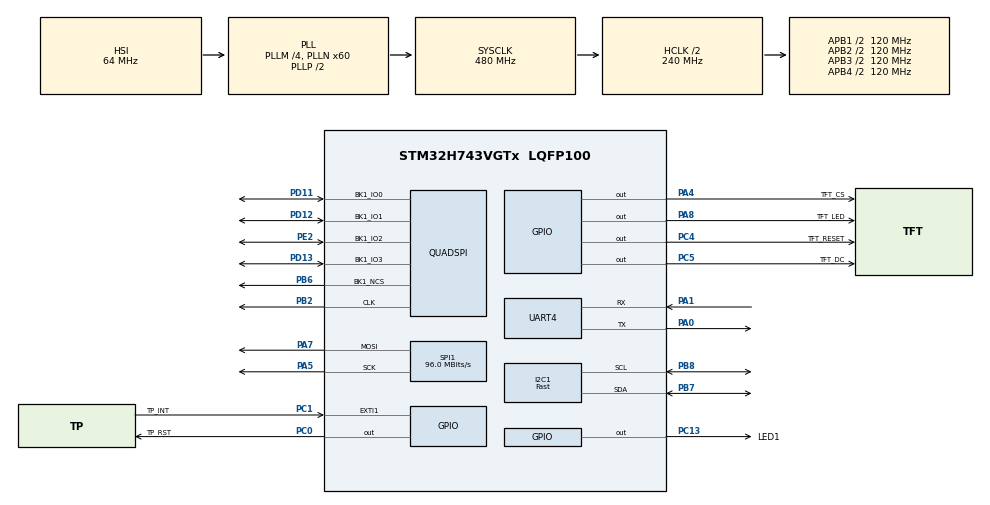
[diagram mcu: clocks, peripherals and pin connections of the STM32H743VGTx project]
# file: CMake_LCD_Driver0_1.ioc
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CORTEX_M7.default_mode_Activation=0
Dma.Request0=SPI1_TX
Dma.SPI1_TX.0.Direction=DMA_MEMORY_TO_PERIPH
Dma.SPI1_TX.0.EventEnable=DISABLE
Dma.SPI1_TX.0.FIFOMode=DMA_FIFOMODE_DISABLE
Dma.SPI1_TX.0.Instance=DMA1_Stream0
Dma.SPI1_TX.0.MemDataAlignment=DMA_MDATAALIGN_BYTE
Dma.SPI1_TX.0.MemInc=DMA_MINC_ENABLE
Dma.SPI1_TX.0.Mode=DMA_NORMAL
Dma.SPI1_TX.0.PeriphDataAlignment=DMA_PDATAALIGN_BYTE
Dma.SPI1_TX.0.PeriphInc=DMA_PINC_DISABLE
Dma.SPI1_TX.0.Polarity=HAL_DMAMUX_REQ_GEN_RISING
Dma.SPI1_TX.0.Priority=DMA_PRIORITY_MEDIUM
Dma.SPI1_TX.0.RequestNumber=1
Dma.SPI1_TX.0.SignalID=NONE
Dma.SPI1_TX.0.SyncEnable=DISABLE
Dma.SPI1_TX.0.SyncPolarity=HAL_DMAMUX_SYNC_NO_EVENT
Dma.SPI1_TX.0.SyncRequestNumber=1
Dma.SPI1_TX.0.SyncSignalID=NONE
I2C1.I2C_Speed_Mode=I2C_Fast
I2C1.Timing=0x00B03FDB
Mcu.Family=STM32H7
Mcu.Name=STM32H743VGTx
Mcu.Package=LQFP100
NVIC.DMA1_Stream0_IRQn=true\:0\:0\:false\:false\:true\:false\:true\:true
NVIC.PriorityGroup=NVIC_PRIORITYGROUP_4
NVIC.QUADSPI_IRQn=true\:0\:0\:false\:false\:true\:true\:true\:true
NVIC.SPI1_IRQn=true\:0\:0\:false\:false\:true\:false\:true\:true
NVIC.UART4_IRQn=true\:0\:0\:false\:false\:true\:true\:true\:true
PA0.Mode=Asynchronous
PA0.Signal=UART4_TX
PA1.Mode=Asynchronous
PA1.Signal=UART4_RX
PA13\ (JTMS/SWDIO).Mode=Serial_Wire
PA13\ (JTMS/SWDIO).Signal=DEBUG_JTMS-SWDIO
PA14\ (JTCK/SWCLK).Mode=Serial_Wire
PA14\ (JTCK/SWCLK).Signal=DEBUG_JTCK-SWCLK
PA4.GPIO_Label=TFT_CS
PA4.GPIO_Speed=GPIO_SPEED_FREQ_VERY_HIGH
PA4.PinState=GPIO_PIN_RESET
PA4.Signal=GPIO_Output
PA5.GPIO_Speed=GPIO_SPEED_FREQ_VERY_HIGH
PA5.Mode=TX_Only_Simplex_Unidirect_Master
PA5.Signal=SPI1_SCK
PA7.GPIO_Speed=GPIO_SPEED_FREQ_VERY_HIGH
PA7.Mode=TX_Only_Simplex_Unidirect_Master
PA7.Signal=SPI1_MOSI
PA8.GPIO_Label=TFT_LED
PA8.GPIO_PuPd=GPIO_PULLUP
PA8.GPIO_Speed=GPIO_SPEED_FREQ_VERY_HIGH
PA8.Signal=GPIO_Output
PB2.GPIO_Speed=GPIO_SPEED_FREQ_VERY_HIGH
PB2.Mode=Single Bank 1
PB2.Signal=QUADSPI_CLK
PB6.GPIO_Speed=GPIO_SPEED_FREQ_VERY_HIGH
PB6.Mode=Single Bank 1
PB6.Signal=QUADSPI_BK1_NCS
PB7.Mode=I2C
PB7.Signal=I2C1_SDA
PB8.Mode=I2C
PB8.Signal=I2C1_SCL
PC0.GPIO_Label=TP_RST
PC0.PinState=GPIO_PIN_SET
PC0.Signal=GPIO_Output
PC1.GPIO_Label=TP_INT
PC1.GPIO_ModeDefaultEXTI=GPIO_MODE_IT_FALLING
PC1.GPIO_PuPd=GPIO_PULLUP
PC1.Signal=GPXTI1
PC13.GPIO_Label=LED1
PC13.PinState=GPIO_PIN_RESET
PC13.Signal=GPIO_Output
PC4.GPIO_Label=TFT_RESET
PC4.GPIO_Speed=GPIO_SPEED_FREQ_VERY_HIGH
PC4.Signal=GPIO_Output
PC5.GPIO_Label=TFT_DC
PC5.GPIO_Speed=GPIO_SPEED_FREQ_VERY_HIGH
PC5.Signal=GPIO_Output
PD11.GPIO_Speed=GPIO_SPEED_FREQ_VERY_HIGH
PD11.Mode=Single Bank 1
PD11.Signal=QUADSPI_BK1_IO0
PD12.GPIO_Speed=GPIO_SPEED_FREQ_VERY_HIGH
PD12.Mode=Single Bank 1
PD12.Signal=QUADSPI_BK1_IO1
PD13.GPIO_Speed=GPIO_SPEED_FREQ_VERY_HIGH
PD13.Mode=Single Bank 1
PD13.Signal=QUADSPI_BK1_IO3
PE2.GPIO_Speed=GPIO_SPEED_FREQ_VERY_HIGH
PE2.Mode=Single Bank 1
PE2.Signal=QUADSPI_BK1_IO2
PH0-OSC_IN\ (PH0).Mode=HSE-External-Oscillator
PH0-OSC_IN\ (PH0).Signal=RCC_OSC_IN
PH1-OSC_OUT\ (PH1).Mode=HSE-External-Oscillator
PH1-OSC_OUT\ (PH1).Signal=RCC_OSC_OUT
ProjectManager.HeapSize=0x200
ProjectManager.StackSize=0x400
ProjectManager.TargetToolchain=CMake
QUADSPI.ChipSelectHighTime=QSPI_CS_HIGH_TIME_2_CYCLE
QUADSPI.ClockPrescaler=2
QUADSPI.FifoThreshold=4
QUADSPI.FlashSize=22
QUADSPI.SampleShifting=QSPI_SAMPLE_SHIFTING_HALFCYCLE
RCC.ADCFreq_Value=129000000
RCC.APB1Freq_Value=120000000
RCC.APB2Freq_Value=120000000
RCC.APB3Freq_Value=120000000
RCC.APB4Freq_Value=120000000
RCC.CortexFreq_Value=480000000
RCC.D1PPRE=RCC_APB3_DIV2
RCC.D2PPRE1=RCC_APB1_DIV2
RCC.D2PPRE2=RCC_APB2_DIV2
RCC.D3PPRE=RCC_APB4_DIV2
RCC.DIVM1=4
RCC.DIVN1=60
RCC.DIVQ1=5
RCC.HCLKFreq_Value=240000000
RCC.HPRE=RCC_HCLK_DIV2
RCC.PLL2FRACN=0
RCC.PLL3FRACN=0
RCC.PLLFRACN=0
RCC.SYSCLKFreq_VALUE=480000000
RCC.SYSCLKSource=RCC_SYSCLKSOURCE_PLLCLK
RCC.USBFreq_Value=192000000
SPI1.BaudRatePrescaler=SPI_BAUDRATEPRESCALER_2
SPI1.CLKPolarity=SPI_POLARITY_LOW
SPI1.CalculateBaudRate=96.0 MBits/s
SPI1.DataSize=SPI_DATASIZE_8BIT
SPI1.Direction=SPI_DIRECTION_2LINES_TXONLY
SPI1.Mode=SPI_MODE_MASTER
SPI1.NSSPMode=SPI_NSS_PULSE_DISABLE
SPI1.VirtualType=VM_MASTER
VP_MEMORYMAP_VS_MEMORYMAP.Mode=CurAppReg
board=custom

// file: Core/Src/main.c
/* USER CODE BEGIN Header */
/**
  ******************************************************************************
  * @file           : main.c
  * @brief          : Main program body
  ******************************************************************************
  * @attention
  *
  * Copyright (c) 2026 STMicroelectronics.
  * All rights reserved.
  *
  * This software is licensed under terms that can be found in the LICENSE file
  * in the root directory of this software component.
  * If no LICENSE file comes with this software, it is provided AS-IS.
  *
  ******************************************************************************
  */
/* USER CODE END Header */
#include "main.h"
#include "dma.h"
#include "i2c.h"
#include "quadspi.h"
#include "spi.h"
#include "usart.h"
#include "gpio.h"

/* USER CODE BEGIN Includes */
#include <stdio.h>
#include <string.h>
#include "ft6336u.h"
#include "lcd.h"
#include "lvgl.h"            // 新增
#include "lv_port_disp.h"    // 新增
#include "lv_port_indev.h"   // 新增
#include "ui.h"
/* USER CODE END Includes */

void SystemClock_Config(void);

/* USER CODE BEGIN 0 */
uint16_t *test_color_buf = (uint16_t *)0x30000000;
// 这是一个标志位，加上 volatile 防止被编译器过度优化
volatile uint8_t spi_dma_is_done = 1;

volatile uint32_t current_fps = 0; // 存放最终计算出的实时帧率
extern lv_display_t * my_disp_handle;

// 👇 加上这一句，告诉 main.c 你的大壁纸在外部编译单元里
LV_IMG_DECLARE(my_wallpaper);

// 当 SPI DMA 传输完成时，HAL 库会自动调用这个函数
void HAL_SPI_TxCpltCallback(SPI_HandleTypeDef *hspi) {
  if (hspi->Instance == SPI1) {
    LCD_CS_SET;
    spi_dma_is_done = 1;
    if(my_disp_handle != NULL) {
      lv_display_flush_ready(my_disp_handle);
    }
  }
}
void HAL_SPI_ErrorCallback(SPI_HandleTypeDef *hspi) {
  if (hspi->Instance == SPI1) {
    // 如果触发了错误，片选拉高，强行把标志位置1，防止程序死锁
    LCD_CS_SET;
    spi_dma_is_done = 1;
  }
}
// 重写 GCC 的底层系统调用，将 printf 的数据流引向 UART4
int _write(int file, char *ptr, int len) {
  // 使用阻塞模式发送数据
  HAL_UART_Transmit(&huart4, (uint8_t *)ptr, len, HAL_MAX_DELAY);
  return len;
}

// 包含 MPU 和 QSPI 需要的头文件环境
extern QSPI_HandleTypeDef hqspi;

// 开启 QSPI 内存映射模式 (终极防卡死版)
void QSPI_Enable_MemoryMappedMode(void) {
    // ====================================================================
    // 0. 填坑：强制上拉 IO2(WP) 和 IO3(HOLD) 引脚，防止浮空导致 Flash 锁死
    // ====================================================================
    GPIO_InitTypeDef GPIO_InitStruct = {0};
    GPIO_InitStruct.Mode = GPIO_MODE_AF_PP;
    GPIO_InitStruct.Pull = GPIO_PULLUP; // 【绝对核心：强制开启内部上拉】
    GPIO_InitStruct.Speed = GPIO_SPEED_FREQ_VERY_HIGH;
    GPIO_InitStruct.Alternate = GPIO_AF9_QUADSPI;

    // 重新初始化 PD11, PD12, PD13(HOLD)
    GPIO_InitStruct.Pin = GPIO_PIN_13 | GPIO_PIN_11 | GPIO_PIN_12;
    HAL_GPIO_Init(GPIOD, &GPIO_InitStruct);
    // 重新初始化 PE2(WP)
    GPIO_InitStruct.Pin = GPIO_PIN_2;
    HAL_GPIO_Init(GPIOE, &GPIO_InitStruct);

    // ====================================================================
    // 1. 软件复位 W25Q64，唤醒并清除所有异常状态
    // ====================================================================
    QSPI_CommandTypeDef sCommand = {0};
    sCommand.InstructionMode   = QSPI_INSTRUCTION_1_LINE;
    sCommand.AddressMode       = QSPI_ADDRESS_NONE;
    sCommand.DataMode          = QSPI_DATA_NONE;
    sCommand.DummyCycles       = 0;

    sCommand.Instruction = 0x66; // 发送 Reset Enable
    HAL_QSPI_Command(&hqspi, &sCommand, HAL_MAX_DELAY);

    sCommand.Instruction = 0x99; // 发送 Reset
    HAL_QSPI_Command(&hqspi, &sCommand, HAL_MAX_DELAY);
    HAL_Delay(50); // 等待复位完成

    // ====================================================================
    // 2. MPU 配置：设为 Normal Memory (Non-cacheable)，兼容 AXI 总线
    // ====================================================================
    MPU_Region_InitTypeDef MPU_InitStruct = {0};
    HAL_MPU_Disable();
    MPU_InitStruct.Enable = MPU_REGION_ENABLE;
    MPU_InitStruct.Number = MPU_REGION_NUMBER1;
    MPU_InitStruct.BaseAddress = 0x90000000;
    MPU_InitStruct.Size = MPU_REGION_SIZE_8MB;
    MPU_InitStruct.SubRegionDisable = 0x0;
    MPU_InitStruct.TypeExtField = MPU_TEX_LEVEL1; // 【关键】设为普通内存
    MPU_InitStruct.AccessPermission = MPU_REGION_FULL_ACCESS;
    MPU_InitStruct.DisableExec = MPU_INSTRUCTION_ACCESS_DISABLE;
    MPU_InitStruct.IsShareable = MPU_ACCESS_NOT_SHAREABLE;
    MPU_InitStruct.IsCacheable = MPU_ACCESS_NOT_CACHEABLE; // 依然不使用 Cache 保证数据一致性
    MPU_InitStruct.IsBufferable = MPU_ACCESS_NOT_BUFFERABLE;
    HAL_MPU_ConfigRegion(&MPU_InitStruct);
  // ====================================================================
  // MPU 区域 2 配置：AXI SRAM (0x24000000) 专供 LVGL 使用，必须关闭 Cache
  // ====================================================================
  MPU_InitStruct.Enable = MPU_REGION_ENABLE;
  MPU_InitStruct.Number = MPU_REGION_NUMBER2; // 使用 2 号区域
  MPU_InitStruct.BaseAddress = 0x24000000;    // AXI SRAM 起始地址
  MPU_InitStruct.Size = MPU_REGION_SIZE_512KB;
  MPU_InitStruct.SubRegionDisable = 0x0;
  MPU_InitStruct.TypeExtField = MPU_TEX_LEVEL1;
  MPU_InitStruct.AccessPermission = MPU_REGION_FULL_ACCESS;
  MPU_InitStruct.DisableExec = MPU_INSTRUCTION_ACCESS_DISABLE;
  MPU_InitStruct.IsShareable = MPU_ACCESS_NOT_SHAREABLE;
  MPU_InitStruct.IsCacheable = MPU_ACCESS_NOT_CACHEABLE;   // 【关键！关掉 Cache】
  MPU_InitStruct.IsBufferable = MPU_ACCESS_NOT_BUFFERABLE;
  HAL_MPU_ConfigRegion(&MPU_InitStruct);

    HAL_MPU_Enable(MPU_PRIVILEGED_DEFAULT);

    // ====================================================================
    // 3. 配置指令：进入内存映射 (使用 0x0B Fast Read)
    // ====================================================================
    QSPI_MemoryMappedTypeDef sMemMappedCfg = {0};

    sCommand.InstructionMode   = QSPI_INSTRUCTION_1_LINE;
    sCommand.Instruction       = 0x0B;                    // Fast Read (支持最高 133MHz)
    sCommand.AddressMode       = QSPI_ADDRESS_1_LINE;
    sCommand.AddressSize       = QSPI_ADDRESS_24_BITS;
    sCommand.DataMode          = QSPI_DATA_1_LINE;
    sCommand.DummyCycles       = 8;                       // 0x0B 指令强制需要 8 个空跑周期
    sCommand.DdrMode           = QSPI_DDR_MODE_DISABLE;
    sCommand.DdrHoldHalfCycle  = QSPI_DDR_HHC_ANALOG_DELAY;
    sCommand.SIOOMode          = QSPI_SIOO_INST_EVERY_CMD;

    sMemMappedCfg.TimeOutActivation = QSPI_TIMEOUT_COUNTER_DISABLE;
    sMemMappedCfg.TimeOutPeriod     = 0;

    if (HAL_QSPI_MemoryMapped(&hqspi, &sCommand, &sMemMappedCfg) != HAL_OK) {
        printf("QSPI Memory Mapped Mode Failed!\r\n");
    } else {
        printf("QSPI Memory Mapped Mode Success! Mapped to 0x90000000\r\n");
    }
}
/* 把 LVGL 的内部日志对接到串口 */
void my_lv_log_cb(lv_log_level_t level, const char * buf)
{
  printf("[LVGL LOG] %s", buf);
}
/* USER CODE END 0 */

int main(void)
{

  /* MCU Configuration--------------------------------------------------------*/

  /* Reset of all peripherals, Initializes the Flash interface and the Systick. */
  HAL_Init();

  /* Configure the system clock */
  SystemClock_Config();

  /* Initialize all configured peripherals */
  MX_GPIO_Init();
  MX_DMA_Init();
  MX_SPI1_Init();
  MX_UART4_Init();
  MX_QUADSPI_Init();
  MX_I2C1_Init();
  /* USER CODE BEGIN 2 */

  // 1. 开启 QSPI 内存映射
  QSPI_Enable_MemoryMappedMode();

  // 2. 暴力读取测试！直接去读 0x90000000 的数据
  uint8_t *flash_ptr = (uint8_t *)0x90000000;

  printf("\r\n--- W25Q64 Read Test ---\r\n");
  printf("Read Flash [0]: 0x%02X\r\n", flash_ptr[0]);
  printf("Read Flash [1]: 0x%02X\r\n", flash_ptr[1]);
  printf("Read Flash [2]: 0x%02X\r\n", flash_ptr[2]);
  printf("Read Flash [3]: 0x%02X\r\n", flash_ptr[3]);
  printf("------------------------\r\n");

  if (FT6336U_Init() == 0) {
    HAL_GPIO_WritePin(LED1_GPIO_Port, LED1_Pin, GPIO_PIN_RESET); // 成功则点亮 LED1
  }

  printf("=> 1. LVGL Core Init...\r\n");
  lv_init();
  lv_log_register_print_cb(my_lv_log_cb);

  printf("=> 2. Display Port Init...\r\n");
  lv_port_disp_init();

  printf("=> 3. Input Port Init...\r\n");
  lv_port_indev_init();

  printf("=> 4. UI Init...\r\n");

  ui_init();

  // 👇 开始注入我们的动态壁纸
  printf("=> 5. Injecting Dynamic Wallpaper from QSPI...\r\n");
  // 【探雷针 1】绕过 SquareLine 的容器，直接挂载到当前激活的底层屏幕上！
  lv_obj_t * dynamic_bg = lv_gif_create(lv_screen_active());

  if (dynamic_bg == NULL) {
    printf("!!! FATAL: GIF Object Create Failed!\r\n");
  } else {
    // 塞入 QSPI 里的动图数据
    lv_gif_set_src(dynamic_bg, &my_wallpaper);

    // 【探雷针 2】强行锁死尺寸，绝对不给系统压缩它的机会！
    lv_obj_set_size(dynamic_bg, 320, 427);
    lv_obj_align(dynamic_bg, LV_ALIGN_CENTER, 0, 0);

    // 【探雷针 3】给这个 GIF 垫一层刺眼的红色半透明底色！
    lv_obj_set_style_bg_color(dynamic_bg, lv_color_hex(0xFF0000), LV_PART_MAIN);
    lv_obj_set_style_bg_opa(dynamic_bg, 100, LV_PART_MAIN);

    // 把它沉到 UI 树的最底层，让你的按键和开关能浮在它上面
    lv_obj_move_background(dynamic_bg);

    // 顺手把 SquareLine 默认的白底屏幕变成透明，防止它遮挡
    lv_obj_set_style_bg_opa(lv_screen_active(), 0, LV_PART_MAIN);

    printf("GIF Inject Success! Address: %p\r\n", dynamic_bg);
  }

  printf("LVGL Test Started...\r\n");
  /* USER CODE END 2 */

  /* Infinite loop */
  /* USER CODE BEGIN WHILE */
  while (1)
  {

    // 1. 处理 LVGL 核心任务
    lv_timer_handler();

    // 2. 硬件延时 5 毫秒
    HAL_Delay(5);

    // 3. 【极度关键】给 LVGL 打心脏起搏器，告诉它过去了 5 毫秒！
    // 如果没有这句话，GIF 永远静止，啥也画不出来！
    lv_tick_inc(5);

    /* USER CODE END WHILE */

  }
}

void SystemClock_Config(void)
{
  RCC_OscInitTypeDef RCC_OscInitStruct = {0};
  RCC_ClkInitTypeDef RCC_ClkInitStruct = {0};

  /** Supply configuration update enable
  */
  HAL_PWREx_ConfigSupply(PWR_LDO_SUPPLY);

  /** Configure the main internal regulator output voltage
  */
  __HAL_PWR_VOLTAGESCALING_CONFIG(PWR_REGULATOR_VOLTAGE_SCALE0);

  while(!__HAL_PWR_GET_FLAG(PWR_FLAG_VOSRDY)) {}

  /** Initializes the RCC Oscillators according to the specified parameters
  * in the RCC_OscInitTypeDef structure.
  */
  RCC_OscInitStruct.OscillatorType = RCC_OSCILLATORTYPE_HSI;
  RCC_OscInitStruct.HSIState = RCC_HSI_DIV1;
  RCC_OscInitStruct.HSICalibrationValue = RCC_HSICALIBRATION_DEFAULT;
  RCC_OscInitStruct.PLL.PLLState = RCC_PLL_ON;
  RCC_OscInitStruct.PLL.PLLSource = RCC_PLLSOURCE_HSI;
  RCC_OscInitStruct.PLL.PLLM = 4;
  RCC_OscInitStruct.PLL.PLLN = 60;
  RCC_OscInitStruct.PLL.PLLP = 2;
  RCC_OscInitStruct.PLL.PLLQ = 5;
  RCC_OscInitStruct.PLL.PLLR = 2;
  RCC_OscInitStruct.PLL.PLLRGE = RCC_PLL1VCIRANGE_3;
  RCC_OscInitStruct.PLL.PLLVCOSEL = RCC_PLL1VCOWIDE;
  RCC_OscInitStruct.PLL.PLLFRACN = 0;
  if (HAL_RCC_OscConfig(&RCC_OscInitStruct) != HAL_OK)
  {
    Error_Handler();
  }

  /** Initializes the CPU, AHB and APB buses clocks
  */
  RCC_ClkInitStruct.ClockType = RCC_CLOCKTYPE_HCLK|RCC_CLOCKTYPE_SYSCLK
                              |RCC_CLOCKTYPE_PCLK1|RCC_CLOCKTYPE_PCLK2
                              |RCC_CLOCKTYPE_D3PCLK1|RCC_CLOCKTYPE_D1PCLK1;
  RCC_ClkInitStruct.SYSCLKSource = RCC_SYSCLKSOURCE_PLLCLK;
  RCC_ClkInitStruct.SYSCLKDivider = RCC_SYSCLK_DIV1;
  RCC_ClkInitStruct.AHBCLKDivider = RCC_HCLK_DIV2;
  RCC_ClkInitStruct.APB3CLKDivider = RCC_APB3_DIV2;
  RCC_ClkInitStruct.APB1CLKDivider = RCC_APB1_DIV2;
  RCC_ClkInitStruct.APB2CLKDivider = RCC_APB2_DIV2;
  RCC_ClkInitStruct.APB4CLKDivider = RCC_APB4_DIV2;

  if (HAL_RCC_ClockConfig(&RCC_ClkInitStruct, FLASH_LATENCY_4) != HAL_OK)
  {
    Error_Handler();
  }
}

void Error_Handler(void)
{
  __disable_irq();
  while (1)
  {
  }
}
